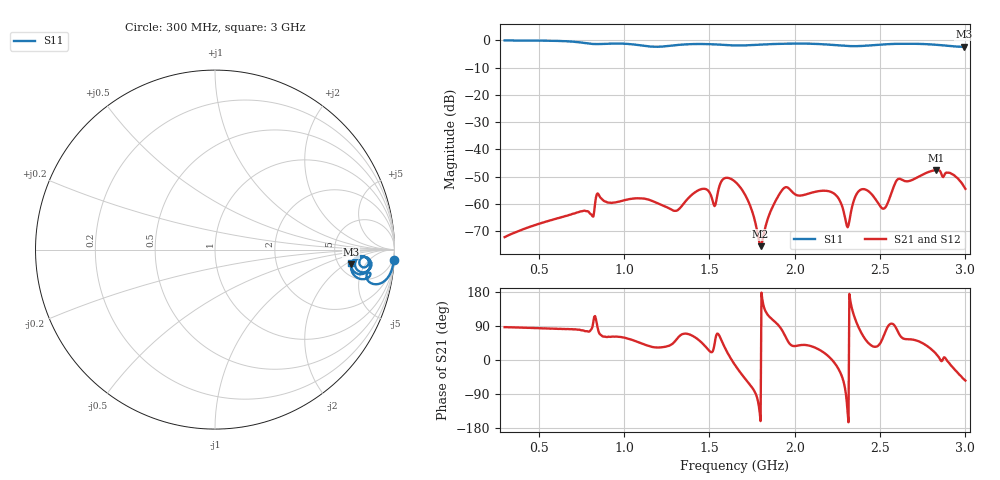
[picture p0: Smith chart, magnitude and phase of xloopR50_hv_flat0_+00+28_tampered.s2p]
! xloopR50_hv_flat0_+00+28_tampered, gap C 0.80 pF
! simulated by sim/fixtures_fdtd.py (S12 = S21, S22 not computed)
# HZ S RI R 50
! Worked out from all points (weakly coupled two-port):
!   541 points, 300 MHz to 3 GHz, reference 50 ohm
!   highest |S21| = -47.60 dB at 2.83 GHz (marker M1); lowest = -75.5 dB at 1.8 GHz (marker M2)
!   lowest |S11| = -2.4 dB at 2.99 GHz (marker M3), VSWR 7.43, Z = 322 - j124 ohm
!   |S11| at or under -10 dB: nowhere
!   |S22| runs from - to - dB; largest |S21 - S12| = 0
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3e8  0.9964 -0.0595  1.41e-05 0.000244  1.41e-05 0.000244  0 0
7.5e8  0.8913 -0.193  0.000147 0.000715  0.000147 0.000715  0 0
8.15e8  0.8459 -0.1617  2.49e-05 0.000591  2.49e-05 0.000591  0 0
8.45e8  0.8446 -0.1422  0.00013 0.00155  0.00013 0.00155  0 0
1.2e9  0.7601 -0.0805  0.00085 0.000548  0.00085 0.000548  0 0
1.305e9  0.8188 -0.0358  0.000448 0.000595  0.000448 0.000595  0 0
1.465e9  0.8547 -0.0809  0.00142 0.00125  0.00142 0.00125  0 0
1.53e9  0.8415 -0.0959  0.00068 0.000604  0.00068 0.000604  0 0
1.58e9  0.822 -0.098  0.00208 0.00191  0.00208 0.00191  0 0
1.65e9  0.8043 -0.0766  0.00249 -0.00059  0.00249 -0.00059  0 0
1.735e9  0.8158 -0.0473  0.000439 -0.000888  0.000439 -0.000888  0 0
1.8e9  0.8368 -0.0412  -0.000158 -5.38e-05  -0.000158 -5.38e-05  0 0
1.935e9  0.8653 -0.0622  0.000617 0.00182  0.000617 0.00182  0 0
2.1e9  0.8609 -0.1097  0.0013 0.000941  0.0013 0.000941  0 0
2.235e9  0.8102 -0.124  0.00149 -0.00023  0.00149 -0.00023  0 0
2.31e9  0.7829 -0.0975  -0.000275 -0.000248  -0.000275 -0.000248  0 0
2.385e9  0.7867 -0.059  0.000435 0.00175  0.000435 0.00175  0 0
2.55e9  0.8528 -0.0516  -2.18e-05 0.00113  -2.18e-05 0.00113  0 0
2.605e9  0.8624 -0.072  0.000762 0.00274  0.000762 0.00274  0 0
2.83e9  0.8199 -0.1364  0.00402 0.0011  0.00402 0.0011  0 0
2.99e9  0.7584 -0.0808  0.00135 -0.00161  0.00135 -0.00161  0 0
3e9  0.7592 -0.0747  0.0011 -0.00153  0.0011 -0.00153  0 0
